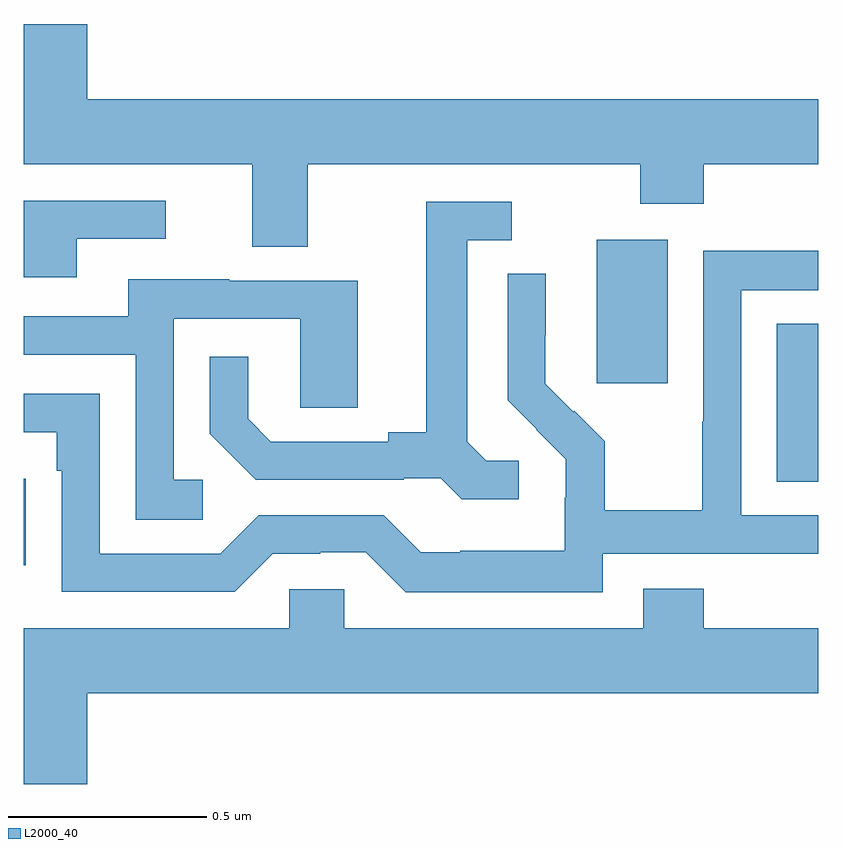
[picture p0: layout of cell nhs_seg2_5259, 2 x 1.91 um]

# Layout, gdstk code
import gdstk
lib = gdstk.Library(unit=1e-6, precision=1e-09)
def R(c, l, rs):  # rectangles x0, y0, x1, y1
    for r in rs: c.add(gdstk.rectangle(r[:2], r[2:], *l))
def P(c, l, *ps):  # polygons
    for p in ps: c.add(gdstk.Polygon(p, *l))
L2000_40 = (2000, 40)

nhs_seg2_5259 = lib.new_cell('nhs_seg2_5259')
R(nhs_seg2_5259, L2000_40, [(177,589.35,177.005,589.568), (178.895,589.561,179,589.958), (178.442,589.809,178.621,590.17)])
P(nhs_seg2_5259, L2000_40, [(177.715,590.36),(178.552,590.36),(178.552,590.261),(178.712,590.261),(178.712,590.36),(179,590.36),(179,590.524),(177.16,590.524),(177.16,590.713),(177,590.713),(177,590.36),(177.575,590.36),(177.575,590.152),(177.715,590.152)],
  [(177.133,590.172),(177.358,590.172),(177.358,590.268),(177,590.268),(177,590.076),(177.133,590.076)],
  [(178.246,589.614),(178.164,589.614),(178.117,589.661),(178.117,590.169),(178.228,590.169),(178.228,590.265),(178.013,590.265),(178.013,589.685),(177.917,589.685),(177.917,589.662),(177.622,589.662),(177.565,589.719),(177.565,589.876),(177.468,589.876),(177.468,589.682),(177.584,589.566),(177.956,589.566),(177.956,589.569),(178.05,589.569),(178.102,589.517),(178.246,589.517)],
  [(178.458,589.38),(179,589.38),(179,589.476),(178.806,589.476),(178.806,590.043),(179,590.043),(179,590.142),(178.71,590.142),(178.71,589.712),(178.708,589.712),(178.708,589.489),(178.463,589.489),(178.463,589.663),(178.386,589.74),(178.383,589.737),(178.313,589.808),(178.313,589.93),(178.314,589.93),(178.314,590.084),(178.218,590.084),(178.218,589.766),(178.291,589.693),(178.29,589.692),(178.364,589.618),(178.364,589.521),(178.362,589.521),(178.362,589.387),(178.099,589.387),(178.099,589.383),(177.999,589.383),(177.906,589.476),(177.591,589.476),(177.495,589.38),(177.192,589.38),(177.192,589.782),(177,589.782),(177,589.686),(177.083,589.686),(177.083,589.589),(177.096,589.589),(177.096,589.284),(177.531,589.284),(177.627,589.38),(177.746,589.38),(177.746,589.383),(177.861,589.383),(177.961,589.283),(178.458,589.283)],
  [(177.451,589.566),(177.378,589.566),(177.378,589.971),(177.696,589.971),(177.696,589.747),(177.841,589.747),(177.841,590.067),(177.517,590.067),(177.517,590.071),(177.263,590.071),(177.263,589.977),(177,589.977),(177,589.881),(177.282,589.881),(177.282,589.465),(177.451,589.465)],
  [(177.16,589.028),(179,589.028),(179,589.192),(178.712,589.192),(178.712,589.291),(178.559,589.291),(178.559,589.192),(177.807,589.192),(177.807,589.29),(177.669,589.29),(177.669,589.192),(177,589.192),(177,588.8),(177.16,588.8)])

lib.write_gds('nhs_seg2_5259.gds')
